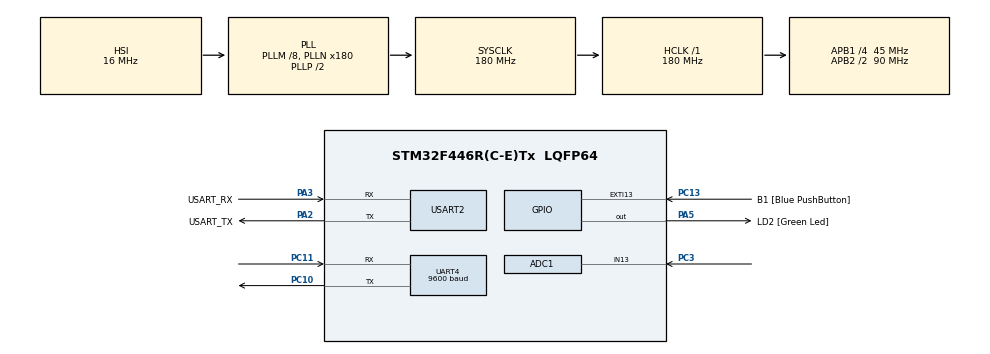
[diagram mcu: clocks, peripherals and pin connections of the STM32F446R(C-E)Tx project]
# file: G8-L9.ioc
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ADC1.Channel-0\#ChannelRegularConversion=ADC_CHANNEL_13
ADC1.NbrOfConversionFlag=1
ADC1.Rank-0\#ChannelRegularConversion=1
ADC1.SamplingTime-0\#ChannelRegularConversion=ADC_SAMPLETIME_3CYCLES
ADC1.master=1
Mcu.Family=STM32F4
Mcu.Name=STM32F446R(C-E)Tx
Mcu.Package=LQFP64
NVIC.PriorityGroup=NVIC_PRIORITYGROUP_0
PA13.GPIO_Label=TMS
PA13.Mode=Serial_Wire
PA13.Signal=SYS_JTMS-SWDIO
PA14.GPIO_Label=TCK
PA14.Mode=Serial_Wire
PA14.Signal=SYS_JTCK-SWCLK
PA2.GPIO_Label=USART_TX
PA2.Mode=Asynchronous
PA2.Signal=USART2_TX
PA3.GPIO_Label=USART_RX
PA3.Mode=Asynchronous
PA3.Signal=USART2_RX
PA5.GPIO_Label=LD2 [Green Led]
PA5.Signal=GPIO_Output
PB3.GPIO_Label=SWO
PB3.Signal=SYS_JTDO-SWO
PC10.Mode=Asynchronous
PC10.Signal=UART4_TX
PC11.Mode=Asynchronous
PC11.Signal=UART4_RX
PC13.GPIO_Label=B1 [Blue PushButton]
PC13.GPIO_ModeDefaultEXTI=GPIO_MODE_IT_FALLING
PC13.Signal=GPXTI13
PC14-OSC32_IN.Signal=RCC_OSC32_IN
PC15-OSC32_OUT.Signal=RCC_OSC32_OUT
PC3.Signal=ADCx_IN13
PH0-OSC_IN.Mode=HSE-External-Clock-Source
PH0-OSC_IN.Signal=RCC_OSC_IN
PH1-OSC_OUT.Mode=HSE-External-Clock-Source
PH1-OSC_OUT.Signal=RCC_OSC_OUT
ProjectManager.HeapSize=0x200
ProjectManager.StackSize=0x400
ProjectManager.TargetToolchain=SW4STM32
RCC.48MHZClocksFreq_Value=84000000
RCC.AHBFreq_Value=180000000
RCC.APB1CLKDivider=RCC_HCLK_DIV4
RCC.APB1Freq_Value=45000000
RCC.APB1TimFreq_Value=90000000
RCC.APB2CLKDivider=RCC_HCLK_DIV2
RCC.APB2Freq_Value=90000000
RCC.APB2TimFreq_Value=180000000
RCC.CortexFreq_Value=180000000
RCC.FLatency-AdvancedSettings=FLASH_LATENCY_5
RCC.HCLKFreq_Value=180000000
RCC.HSE_VALUE=8000000
RCC.HSI_VALUE=16000000
RCC.PLLM=8
RCC.PLLN=180
RCC.SYSCLKFreq_VALUE=180000000
RCC.SYSCLKSource=RCC_SYSCLKSOURCE_PLLCLK
RCC.USBFreq_Value=180000000
RCC.VCOOutputFreq_Value=360000000
SH.ADCx_IN13.0=ADC1_IN13,IN13
UART4.BaudRate=9600
UART4.VirtualMode=Asynchronous
USART2.VirtualMode=VM_ASYNC
board=NUCLEO-F446RE

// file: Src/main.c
/**
  ******************************************************************************
  * @file           : main.c
  * @brief          : Main program body
  ******************************************************************************
  ** This notice applies to any and all portions of this file
  * that are not between comment pairs USER CODE BEGIN and
  * USER CODE END. Other portions of this file, whether
  * inserted by the user or by software development tools
  * are owned by their respective copyright owners.
  *
  * COPYRIGHT(c) 2018 STMicroelectronics
  *
  * Redistribution and use in source and binary forms, with or without modification,
  * are permitted provided that the following conditions are met:
  *   1. Redistributions of source code must retain the above copyright notice,
  *      this list of conditions and the following disclaimer.
  *   2. Redistributions in binary form must reproduce the above copyright notice,
  *      this list of conditions and the following disclaimer in the documentation
  *      and/or other materials provided with the distribution.
  *   3. Neither the name of STMicroelectronics nor the names of its contributors
  *      may be used to endorse or promote products derived from this software
  *      without specific prior written permission.
  *
  * THIS SOFTWARE IS PROVIDED BY THE COPYRIGHT HOLDERS AND CONTRIBUTORS "AS IS"
  * AND ANY EXPRESS OR IMPLIED WARRANTIES, INCLUDING, BUT NOT LIMITED TO, THE
  * IMPLIED WARRANTIES OF MERCHANTABILITY AND FITNESS FOR A PARTICULAR PURPOSE ARE
  * DISCLAIMED. IN NO EVENT SHALL THE COPYRIGHT HOLDER OR CONTRIBUTORS BE LIABLE
  * FOR ANY DIRECT, INDIRECT, INCIDENTAL, SPECIAL, EXEMPLARY, OR CONSEQUENTIAL
  * DAMAGES (INCLUDING, BUT NOT LIMITED TO, PROCUREMENT OF SUBSTITUTE GOODS OR
  * SERVICES; LOSS OF USE, DATA, OR PROFITS; OR BUSINESS INTERRUPTION) HOWEVER
  * CAUSED AND ON ANY THEORY OF LIABILITY, WHETHER IN CONTRACT, STRICT LIABILITY,
  * OR TORT (INCLUDING NEGLIGENCE OR OTHERWISE) ARISING IN ANY WAY OUT OF THE USE
  * OF THIS SOFTWARE, EVEN IF ADVISED OF THE POSSIBILITY OF SUCH DAMAGE.
  *
  ******************************************************************************
  */
#include "main.h"
#include "stm32f4xx_hal.h"
#include "adc.h"
#include "usart.h"
#include "gpio.h"

/* USER CODE BEGIN Includes */
#include "lcd.h"
#include "string.h"
#include "stdio.h"
/* USER CODE END Includes */

/* USER CODE BEGIN PV */
/* Private variables ---------------------------------------------------------*/

/* USER CODE END PV */

void SystemClock_Config(void);

/* USER CODE BEGIN PFP */
/* Private function prototypes -----------------------------------------------*/

/* USER CODE END PFP */

int main(void)
{
  /* USER CODE BEGIN 1 */
	uint8_t tx[] = "Works!\r\n";
	uint8_t buf_size = 8;
	uint8_t rx[8] = {0};
	uint8_t counter = 0;
  /* USER CODE END 1 */

  /* MCU Configuration----------------------------------------------------------*/

  /* Reset of all peripherals, Initializes the Flash interface and the Systick. */
  HAL_Init();

  /* Configure the system clock */
  SystemClock_Config();

  /* Initialize all configured peripherals */
  MX_GPIO_Init();
  MX_USART2_UART_Init();
  MX_ADC1_Init();
  MX_UART4_Init();
  /* USER CODE BEGIN 2 */
  LCD_Init();
  /* USER CODE END 2 */

  /* Infinite loop */
  /* USER CODE BEGIN WHILE */
  while (1)
  {
	  /* Send message every second */
	  //HAL_UART_Transmit(&huart4, tx, strlen((char *) tx), 100);
	  LCD_Printf("Waiting\n");

	  counter = 0;
	  //rx[0] = '\0';
	  LCD_Printf("RX size = %d\n", sizeof(rx));
	  memset(rx, 0, sizeof(rx));

	  while (counter < buf_size )
	  {
		  if (HAL_UART_Receive(&huart4, rx+counter, 1, 10) == HAL_OK)
		  {
			  if ( rx[counter] == '\n' )
			  {
				  //rx[counter] == '\0';
				  HAL_UART_Abort(&huart4);
				  break;
			  }
		  	  ++counter;
		  }
	  }
	  size_t read_size = strlen((char *) rx);
	  LCD_Printf("Read: %d\n", read_size);

		  if ( read_size > 0 )
		  {
			  LCD_Printf("Received: %s\n", rx);
			  //break;
		  }

  /* USER CODE END WHILE */

  }

}

void SystemClock_Config(void)
{

  RCC_OscInitTypeDef RCC_OscInitStruct;
  RCC_ClkInitTypeDef RCC_ClkInitStruct;

    /**Configure the main internal regulator output voltage
    */
  __HAL_RCC_PWR_CLK_ENABLE();

  __HAL_PWR_VOLTAGESCALING_CONFIG(PWR_REGULATOR_VOLTAGE_SCALE1);

    /**Initializes the CPU, AHB and APB busses clocks
    */
  RCC_OscInitStruct.OscillatorType = RCC_OSCILLATORTYPE_HSI;
  RCC_OscInitStruct.HSIState = RCC_HSI_ON;
  RCC_OscInitStruct.HSICalibrationValue = 16;
  RCC_OscInitStruct.PLL.PLLState = RCC_PLL_ON;
  RCC_OscInitStruct.PLL.PLLSource = RCC_PLLSOURCE_HSI;
  RCC_OscInitStruct.PLL.PLLM = 8;
  RCC_OscInitStruct.PLL.PLLN = 180;
  RCC_OscInitStruct.PLL.PLLP = RCC_PLLP_DIV2;
  RCC_OscInitStruct.PLL.PLLQ = 2;
  RCC_OscInitStruct.PLL.PLLR = 2;
  if (HAL_RCC_OscConfig(&RCC_OscInitStruct) != HAL_OK)
  {
    _Error_Handler(__FILE__, __LINE__);
  }

    /**Activate the Over-Drive mode
    */
  if (HAL_PWREx_EnableOverDrive() != HAL_OK)
  {
    _Error_Handler(__FILE__, __LINE__);
  }

    /**Initializes the CPU, AHB and APB busses clocks
    */
  RCC_ClkInitStruct.ClockType = RCC_CLOCKTYPE_HCLK|RCC_CLOCKTYPE_SYSCLK
                              |RCC_CLOCKTYPE_PCLK1|RCC_CLOCKTYPE_PCLK2;
  RCC_ClkInitStruct.SYSCLKSource = RCC_SYSCLKSOURCE_PLLCLK;
  RCC_ClkInitStruct.AHBCLKDivider = RCC_SYSCLK_DIV1;
  RCC_ClkInitStruct.APB1CLKDivider = RCC_HCLK_DIV4;
  RCC_ClkInitStruct.APB2CLKDivider = RCC_HCLK_DIV2;

  if (HAL_RCC_ClockConfig(&RCC_ClkInitStruct, FLASH_LATENCY_5) != HAL_OK)
  {
    _Error_Handler(__FILE__, __LINE__);
  }

    /**Configure the Systick interrupt time
    */
  HAL_SYSTICK_Config(HAL_RCC_GetHCLKFreq()/1000);

    /**Configure the Systick
    */
  HAL_SYSTICK_CLKSourceConfig(SYSTICK_CLKSOURCE_HCLK);

  /* SysTick_IRQn interrupt configuration */
  HAL_NVIC_SetPriority(SysTick_IRQn, 0, 0);
}

void _Error_Handler(char *file, int line)
{
  while(1)
  {
  }
}

/************************ (C) COPYRIGHT STMicroelectronics *****END OF FILE****/
